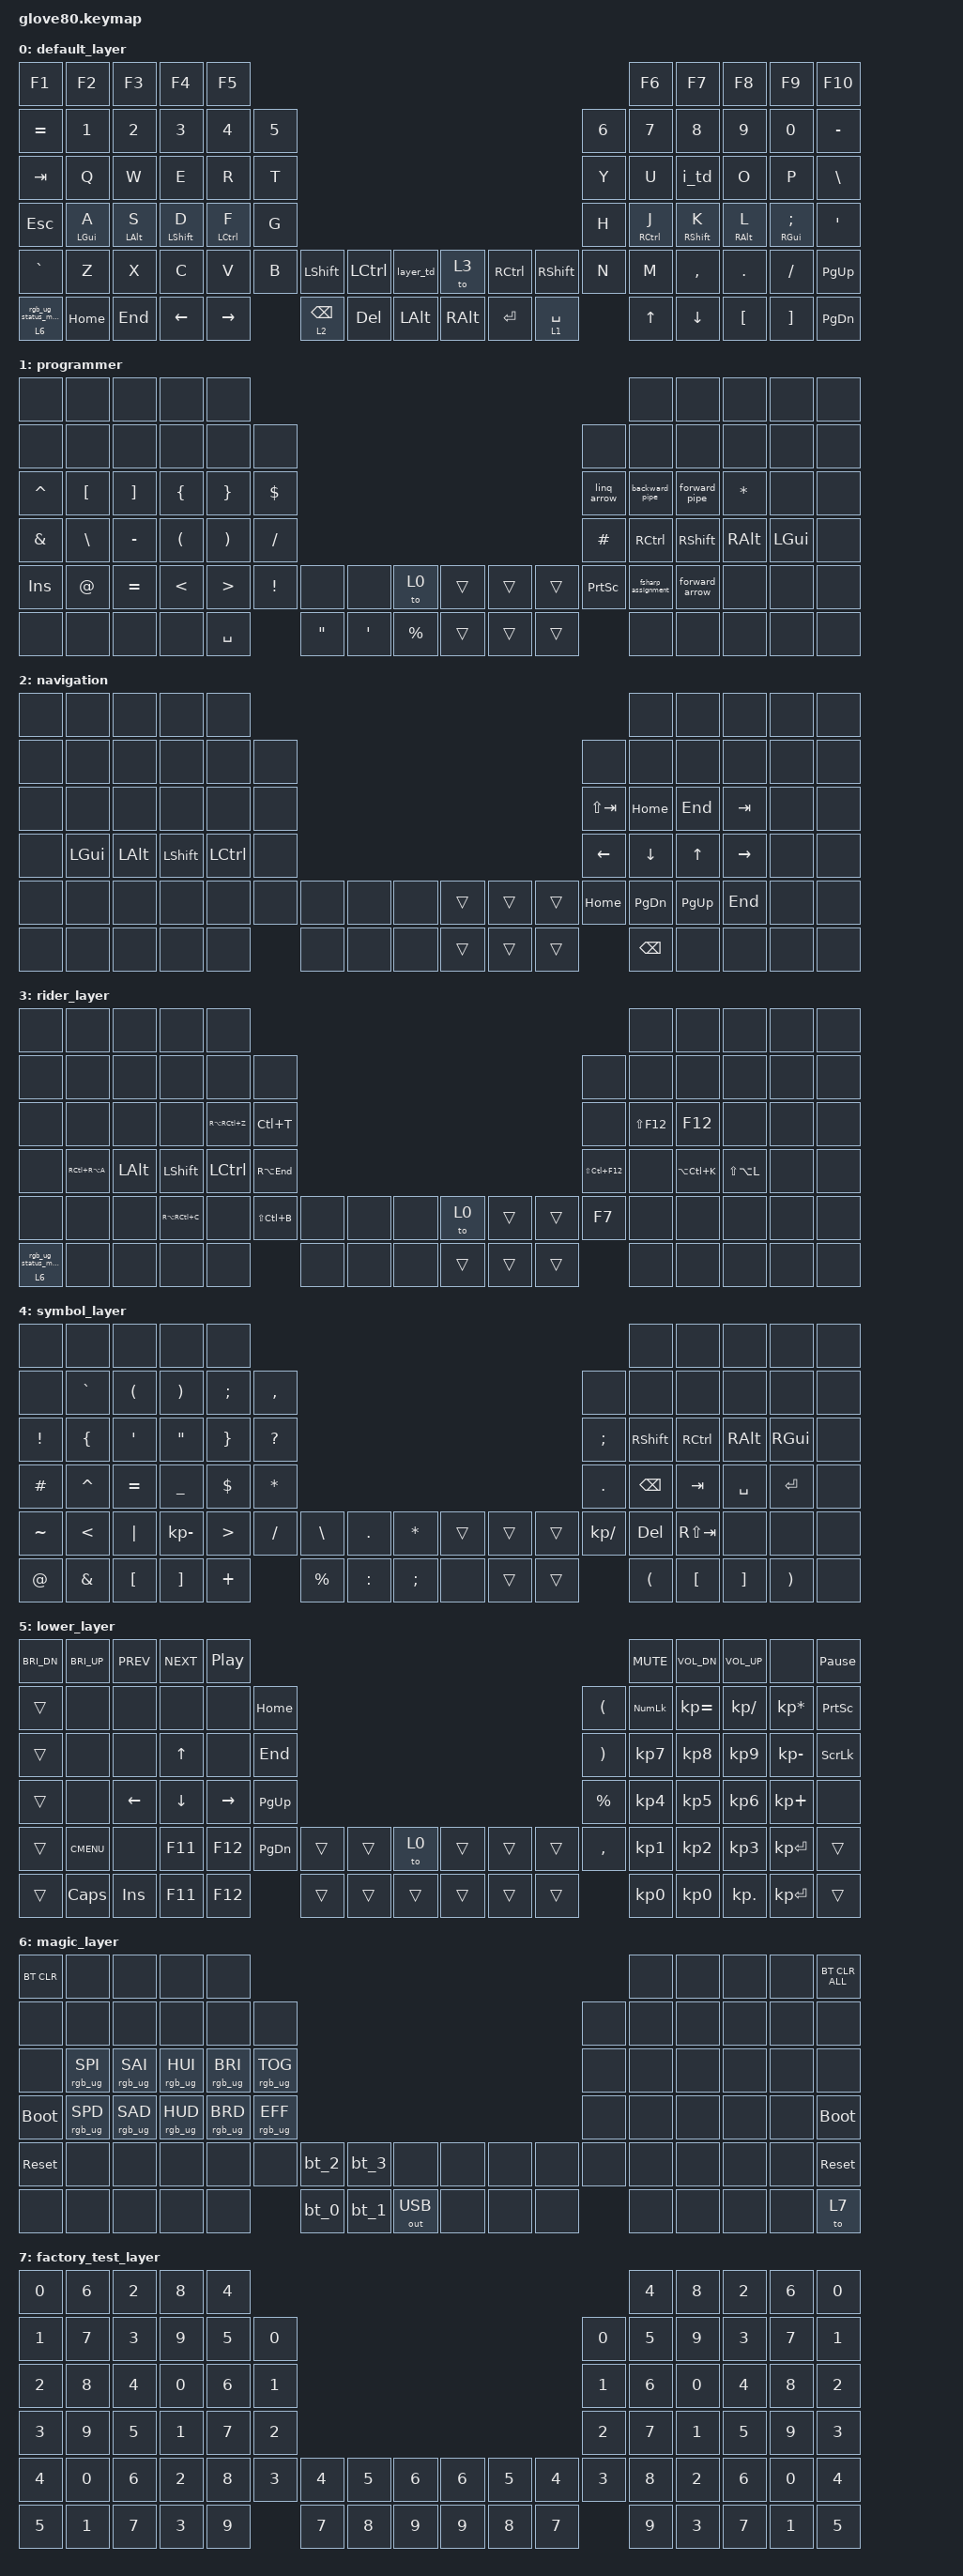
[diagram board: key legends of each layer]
/*
 * Copyright (c) 2020 The ZMK Contributors
 *
 * SPDX-License-Identifier: MIT
 */

#include <behaviors.dtsi>
#include <dt-bindings/zmk/bt.h>
#include <dt-bindings/zmk/keys.h>
#include <dt-bindings/zmk/outputs.h>
#include <dt-bindings/zmk/rgb.h>

#define HYPER LC(LS(LG(LALT)))

// layers

#define DEFAULT 0
#define LOWER 1
#define MAGIC 2
#define FACTORY_TEST 3

/ {
    behaviors {
        // For the "layer" key, it'd nice to be able to use it as either a shift or a toggle.
        // Configure it as a tap dance, so the first tap (or hold) is a &mo and the second tap is a &to

        layer_td: tap_dance_0 {
            compatible = "zmk,behavior-tap-dance";
            label = "LAYER_TAP_DANCE";
            #binding-cells = <0>;
            tapping-term-ms = <200>;
            bindings = <&mo 5>, <&to 5>;
        };

        magic: magic_hold_tap {
            compatible = "zmk,behavior-hold-tap";
            label = "MAGIC_HOLD_TAP";
            #binding-cells = <2>;
            flavor = "tap-preferred";
            tapping-term-ms = <200>;
            bindings = <&mo>, <&rgb_ug_status_macro>;
        };

        ht: ht {
            compatible = "zmk,behavior-hold-tap";
            label = "HT";
            bindings = <&kp>, <&kp>;

            #binding-cells = <2>;
            tapping-term-ms = <200>;
            quick-tap-ms = <200>;
            require-prior-idle-ms = <200>;
            flavor = "tap-preferred";
        };

        hmr_fast_typing: hmr_fast_typing {
            compatible = "zmk,behavior-hold-tap";
            label = "HMR_FAST_TYPING";
            bindings = <&kp>, <&kp>;

            #binding-cells = <2>;
            tapping-term-ms = <180>;
            quick-tap-ms = <200>;
            require-prior-idle-ms = <150>;
            flavor = "tap-preferred";
        };

        ht_longer_time_to_hold: ht_longer_time_to_hold {
            compatible = "zmk,behavior-hold-tap";
            label = "HT_LONGER_TIME_TO_HOLD";
            bindings = <&kp>, <&kp>;

            #binding-cells = <2>;
            tapping-term-ms = <350>;
            quick-tap-ms = <200>;
            require-prior-idle-ms = <200>;
            flavor = "tap-preferred";
        };

        j_td: j_td {
            compatible = "zmk,behavior-tap-dance";
            label = "J_TD";
            #binding-cells = <0>;
            bindings = <&kp J>, <&kp ESC>;

            tapping-term-ms = <220>;
        };

        j_htd: j_htd {
            compatible = "zmk,behavior-hold-tap";
            label = "J_HTD";
            bindings = <&kp>, <&j_td>;

            #binding-cells = <2>;
            tapping-term-ms = <200>;
            flavor = "tap-preferred";
            quick-tap-ms = <200>;
            require-prior-idle-ms = <200>;
        };

        i_td: i_td {
            compatible = "zmk,behavior-tap-dance";
            label = "I_TD";
            #binding-cells = <0>;
            bindings = <&kp I>, <&kp ESC>;

            tapping-term-ms = <220>;
        };
    };

    macros {
        rgb_ug_status_macro: rgb_ug_status_macro_0 {
            label = "RGB_UG_STATUS";
            compatible = "zmk,behavior-macro";
            #binding-cells = <0>;
            bindings = <&rgb_ug RGB_STATUS>;
        };

        bt_0: bt_profile_macro_0 {
            label = "BT_0";
            compatible = "zmk,behavior-macro";
            #binding-cells = <0>;
            bindings = <&out OUT_BLE &bt BT_SEL 0>;
        };

        bt_1: bt_profile_macro_1 {
            label = "BT_1";
            compatible = "zmk,behavior-macro";
            #binding-cells = <0>;
            bindings = <&out OUT_BLE &bt BT_SEL 1>;
        };

        bt_2: bt_profile_macro_2 {
            label = "BT_2";
            compatible = "zmk,behavior-macro";
            #binding-cells = <0>;
            bindings = <&out OUT_BLE &bt BT_SEL 2>;
        };

        bt_3: bt_profile_macro_3 {
            label = "BT_3";
            compatible = "zmk,behavior-macro";
            #binding-cells = <0>;
            bindings = <&out OUT_BLE &bt BT_SEL 3>;
        };

        forward_pipe: forward_pipe {
            compatible = "zmk,behavior-macro";
            #binding-cells = <0>;
            bindings = <&kp PIPE &kp GT &kp SPACE>;
            label = "FORWARD_PIPE";
        };

        backward_pipe: backward_pipe {
            compatible = "zmk,behavior-macro";
            #binding-cells = <0>;
            bindings = <&kp SPACE &kp LT &kp PIPE &kp SPACE>;
            label = "BACKWARD_PIPE";
        };

        fsharp_assignment: fsharp_assignment {
            compatible = "zmk,behavior-macro";
            #binding-cells = <0>;
            bindings = <&kp SPACE &kp LT &kp MINUS &kp SPACE>;
            label = "FSHARP_ASSIGNMENT";
        };

        forward_arrow: forward_arrow {
            compatible = "zmk,behavior-macro";
            #binding-cells = <0>;
            bindings = <&kp SPACE &kp MINUS &kp GT>;
            label = "FORWARD_ARROW";
        };

        linq_arrow: linq_arrow {
            compatible = "zmk,behavior-macro";
            #binding-cells = <0>;
            bindings = <&kp SPACE &kp EQUAL &kp GT>;
            label = "LINQ_ARROW";
        };
    };

    combos { compatible = "zmk,combos"; };

    keymap {
        compatible = "zmk,keymap";

        default_layer {
            // ---------------------------------------------------------------------------------------------------------------------------------
            // |  F1   |  F2 |  F3 |  F4  |  F5  |                                                               |  F6   |  F7   |  F8  |   F9  |  F10 |
            // |  =    |  1  |  2  |  3   |  4   |  5   |                                                 |  6   |   7   |   8   |  9   |   0   |   -  |
            // |  TAB  |  Q  |  W  |  E   |  R   |  T   |                                                 |  Y   |   U   |   I   |  O   |   P   |   \  |
            // |  ESC  |  A  |  S  |  D   |  F   |  G   |                                                 |  H   |   J   |   K   |  L   |   ;   |   '  |
            // |   `   |  Z  |  X  |  C   |  V   |  B   | LSHFT | LCTRL | LOWER | | LGUI  | RCTRL | RSHFT |  N   |   M   |   ,   |  .   |   /   | PGUP |
            // | MAGIC | HOME| END | LEFT | RIGHT|      | BSPC  | DEL   | LALT  | | RALT  | RET   | SPACE |      |  UP   | DOWN  |  [   |   ]   | PGDN |

            bindings = <
&kp F1      &kp F2      &kp F3          &kp F4                     &kp F5                                                                                           &kp F6       &kp F7                     &kp F8      &kp F9              &kp F10
&kp EQUAL   &kp N1      &kp N2          &kp N3                     &kp N4       &kp N5                                                                      &kp N6  &kp N7       &kp N8                     &kp N9      &kp N0              &kp MINUS
&kp TAB     &kp Q       &kp W           &kp E                      &kp R        &kp T                                                                       &kp Y   &kp U        &i_td                      &kp O       &kp P               &kp BSLH
&kp ESC     &ht LGUI A  &ht LEFT_ALT S  &hmr_fast_typing LSHIFT D  &ht LCTRL F  &kp G                                                                       &kp H   &ht RCTRL J  &hmr_fast_typing RSHIFT K  &ht RALT L  &ht RGUI SEMICOLON  &kp SQT
&kp GRAVE   &kp Z       &kp X           &kp C                      &kp V        &kp B   &kp LSHFT   &kp LCTRL  &layer_td  &to 3     &kp RCTRL  &kp RSHFT    &kp N   &kp M        &kp COMMA                  &kp DOT     &kp FSLH            &kp PG_UP
&magic 6 0  &kp HOME    &kp END         &kp LEFT                   &kp RIGHT            &lt 2 BSPC  &kp DEL    &kp LALT   &kp RALT  &kp RET    &lt 1 SPACE          &kp UP       &kp DOWN                   &kp LBKT    &kp RBKT            &kp PG_DN
            >;
        };

        programmer {
            bindings = <
&none          &none             &none              &none                 &none                                                                                                                              &none               &none           &none         &none     &none
&none          &none             &none              &none                 &none                  &none                                                                                      &none            &none               &none           &none         &none     &none
&kp CARET      &kp LEFT_BRACKET  &kp RIGHT_BRACKET  &kp LEFT_BRACE        &kp RIGHT_BRACE        &kp DOLLAR                                                                                 &linq_arrow      &backward_pipe      &forward_pipe   &kp ASTERISK  &none     &none
&kp AMPERSAND  &kp BACKSLASH     &kp MINUS          &kp LEFT_PARENTHESIS  &kp RIGHT_PARENTHESIS  &kp SLASH                                                                                  &kp HASH         &kp RCTRL           &kp RSHFT       &kp RALT      &kp LGUI  &none
&kp INSERT     &kp AT            &kp EQUAL          &kp LESS_THAN         &kp GREATER_THAN       &kp EXCLAMATION  &none              &none             &to 0        &trans  &trans  &trans  &kp PRINTSCREEN  &fsharp_assignment  &forward_arrow  &none         &none     &none
&none          &none             &none              &none                 &kp SPACE                               &kp DOUBLE_QUOTES  &kp SINGLE_QUOTE  &kp PERCENT  &trans  &trans  &trans                   &none               &none           &none         &none     &none
            >;
        };

        navigation {
            bindings = <
&none  &none     &none         &none           &none                                                                          &none           &none         &none            &none  &none
&none  &none     &none         &none           &none      &none                                               &none           &none           &none         &none            &none  &none
&none  &none     &none         &none           &none      &none                                               &kp LS(TAB)     &kp HOME        &kp END       &kp TAB          &none  &none
&none  &kp LGUI  &kp LEFT_ALT  &kp LEFT_SHIFT  &kp LCTRL  &none                                               &kp LEFT_ARROW  &kp DOWN_ARROW  &kp UP_ARROW  &kp RIGHT_ARROW  &none  &none
&none  &none     &none         &none           &none      &none  &none  &none  &none  &trans  &trans  &trans  &kp HOME        &kp PAGE_DOWN   &kp PAGE_UP   &kp END          &none  &none
&none  &none     &none         &none           &none             &none  &none  &none  &trans  &trans  &trans                  &kp BSPC        &none         &none            &none  &none
            >;
        };

        rider_layer {
            bindings = <
&none       &none          &none         &none           &none                                                                                       &none        &none          &none          &none  &none
&none       &none          &none         &none           &none          &none                                                       &none            &none        &none          &none          &none  &none
&none       &none          &none         &none           &kp RA(RC(Z))  &kp LC(T)                                                   &none            &kp LS(F12)  &kp F12        &none          &none  &none
&none       &kp RC(RA(A))  &kp LEFT_ALT  &kp LEFT_SHIFT  &kp LCTRL      &kp RA(END)                                                 &kp LS(LC(F12))  &none        &kp LA(LC(K))  &kp LS(LA(L))  &none  &none
&none       &none          &none         &kp RA(RC(C))   &none          &kp LS(LC(B))  &none  &none  &none  &to 0   &trans  &trans  &kp F7           &none        &none          &none          &none  &none
&magic 6 0  &none          &none         &none           &none                         &none  &none  &none  &trans  &trans  &trans                   &none        &none          &none          &none  &none
            >;
        };

        symbol_layer {
            bindings = <
&none      &none           &none                 &none                  &none                                                                                                      &none                 &none             &none              &none                  &none
&none      &kp GRAVE       &kp LEFT_PARENTHESIS  &kp RIGHT_PARENTHESIS  &kp SEMI          &kp COMMA                                                                  &none         &none                 &none             &none              &none                  &none
&kp EXCL   &kp LEFT_BRACE  &kp SINGLE_QUOTE      &kp DOUBLE_QUOTES      &kp RIGHT_BRACE   &kp QUESTION                                                               &kp SEMI      &kp RIGHT_SHIFT       &kp RCTRL         &kp RIGHT_ALT      &kp RGUI               &none
&kp HASH   &kp CARET       &kp EQUAL             &kp UNDER              &kp DOLLAR        &kp ASTRK                                                                  &kp PERIOD    &kp BACKSPACE         &kp TAB           &kp SPACE          &kp RETURN             &none
&kp TILDE  &kp LESS_THAN   &kp PIPE              &kp KP_MINUS           &kp GREATER_THAN  &kp SLASH     &kp BACKSLASH  &kp PERIOD  &kp STAR  &trans  &trans  &trans  &kp KP_SLASH  &kp DELETE            &kp RS(TAB)       &none              &none                  &none
&kp AT     &kp AMPERSAND   &kp LEFT_BRACKET      &kp RIGHT_BRACKET      &kp PLUS                        &kp PERCENT    &kp COLON   &kp SEMI  &none   &trans  &trans                &kp LEFT_PARENTHESIS  &kp LEFT_BRACKET  &kp RIGHT_BRACKET  &kp RIGHT_PARENTHESIS  &none
            >;
        };

        lower_layer {
            bindings = <
&kp C_BRI_DN  &kp C_BRI_UP  &kp C_PREV  &kp C_NEXT  &kp C_PP                                                                         &kp C_MUTE  &kp C_VOL_DN  &kp C_VOL_UP   &none            &kp PAUSE_BREAK
&trans        &none         &none       &none       &none      &kp HOME                                                   &kp LPAR   &kp KP_NUM  &kp KP_EQUAL  &kp KP_DIVIDE  &kp KP_MULTIPLY  &kp PSCRN
&trans        &none         &none       &kp UP      &none      &kp END                                                    &kp RPAR   &kp KP_N7   &kp KP_N8     &kp KP_N9      &kp KP_MINUS     &kp SLCK
&trans        &none         &kp LEFT    &kp DOWN    &kp RIGHT  &kp PG_UP                                                  &kp PRCNT  &kp KP_N4   &kp KP_N5     &kp KP_N6      &kp KP_PLUS      &none
&trans        &kp K_CMENU   &none       &kp F11     &kp F12    &kp PG_DN  &trans  &trans  &to 0   &trans  &trans  &trans  &kp COMMA  &kp KP_N1   &kp KP_N2     &kp KP_N3      &kp KP_ENTER     &trans
&trans        &kp CAPS      &kp INS     &kp F11     &kp F12               &trans  &trans  &trans  &trans  &trans  &trans             &kp KP_N0   &kp KP_N0     &kp KP_DOT     &kp KP_ENTER     &trans
            >;
        };

        magic_layer {
            bindings = <
&bt BT_CLR   &none            &none            &none            &none                                                                                     &none  &none  &none  &none  &bt BT_CLR_ALL
&none        &none            &none            &none            &none            &none                                                             &none  &none  &none  &none  &none  &none
&none        &rgb_ug RGB_SPI  &rgb_ug RGB_SAI  &rgb_ug RGB_HUI  &rgb_ug RGB_BRI  &rgb_ug RGB_TOG                                                   &none  &none  &none  &none  &none  &none
&bootloader  &rgb_ug RGB_SPD  &rgb_ug RGB_SAD  &rgb_ug RGB_HUD  &rgb_ug RGB_BRD  &rgb_ug RGB_EFF                                                   &none  &none  &none  &none  &none  &bootloader
&sys_reset   &none            &none            &none            &none            &none            &bt_2  &bt_3  &none         &none  &none  &none  &none  &none  &none  &none  &none  &sys_reset
&none        &none            &none            &none            &none                             &bt_0  &bt_1  &out OUT_USB  &none  &none  &none         &none  &none  &none  &none  &to 7
            >;
        };

        factory_test_layer {
            bindings = <
&kp N0  &kp N6  &kp N2  &kp N8  &kp N4                                                                  &kp N4  &kp N8  &kp N2  &kp N6  &kp N0
&kp N1  &kp N7  &kp N3  &kp N9  &kp N5  &kp N0                                                  &kp N0  &kp N5  &kp N9  &kp N3  &kp N7  &kp N1
&kp N2  &kp N8  &kp N4  &kp N0  &kp N6  &kp N1                                                  &kp N1  &kp N6  &kp N0  &kp N4  &kp N8  &kp N2
&kp N3  &kp N9  &kp N5  &kp N1  &kp N7  &kp N2                                                  &kp N2  &kp N7  &kp N1  &kp N5  &kp N9  &kp N3
&kp N4  &kp N0  &kp N6  &kp N2  &kp N8  &kp N3  &kp N4  &kp N5  &kp N6  &kp N6  &kp N5  &kp N4  &kp N3  &kp N8  &kp N2  &kp N6  &kp N0  &kp N4
&kp N5  &kp N1  &kp N7  &kp N3  &kp N9          &kp N7  &kp N8  &kp N9  &kp N9  &kp N8  &kp N7          &kp N9  &kp N3  &kp N7  &kp N1  &kp N5
            >;
        };
    };
};
